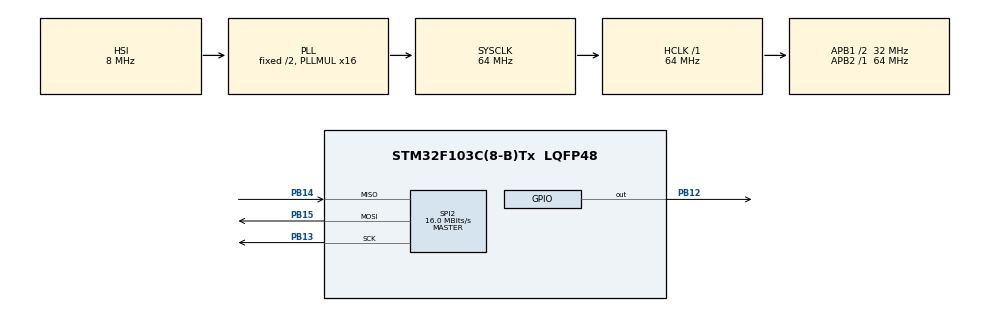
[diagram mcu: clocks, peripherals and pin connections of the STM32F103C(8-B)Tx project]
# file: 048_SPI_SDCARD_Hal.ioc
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FATFS._MAX_SS=4096
FATFS._USE_LFN=1
Mcu.Family=STM32F1
Mcu.Name=STM32F103C(8-B)Tx
Mcu.Package=LQFP48
NVIC.PriorityGroup=NVIC_PRIORITYGROUP_4
PA13.Mode=Serial_Wire
PA13.Signal=SYS_JTMS-SWDIO
PA14.Mode=Serial_Wire
PA14.Signal=SYS_JTCK-SWCLK
PB12.Signal=GPIO_Output
PB13.Mode=Full_Duplex_Master
PB13.Signal=SPI2_SCK
PB14.Mode=Full_Duplex_Master
PB14.Signal=SPI2_MISO
PB15.Mode=Full_Duplex_Master
PB15.Signal=SPI2_MOSI
ProjectManager.HeapSize=0x200
ProjectManager.StackSize=0x400
ProjectManager.TargetToolchain=STM32CubeIDE
RCC.AHBFreq_Value=64000000
RCC.APB1CLKDivider=RCC_HCLK_DIV2
RCC.APB1Freq_Value=32000000
RCC.APB1TimFreq_Value=64000000
RCC.APB2Freq_Value=64000000
RCC.APB2TimFreq_Value=64000000
RCC.HCLKFreq_Value=64000000
RCC.PLLMUL=RCC_PLL_MUL16
RCC.SYSCLKFreq_VALUE=64000000
RCC.SYSCLKSource=RCC_SYSCLKSOURCE_PLLCLK
RCC.USBFreq_Value=64000000
SPI2.CalculateBaudRate=16.0 MBits/s
SPI2.Direction=SPI_DIRECTION_2LINES
SPI2.Mode=SPI_MODE_MASTER
SPI2.VirtualType=VM_MASTER
VP_FATFS_VS_Generic.Mode=User_defined
board=custom

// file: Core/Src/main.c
/* USER CODE BEGIN Header */
/**
  ******************************************************************************
  * @file           : main.c
  * @brief          : Main program body
  ******************************************************************************
  * @attention
  *
  * Copyright (c) 2024 STMicroelectronics.
  * All rights reserved.
  *
  * This software is licensed under terms that can be found in the LICENSE file
  * in the root directory of this software component.
  * If no LICENSE file comes with this software, it is provided AS-IS.
  *
  ******************************************************************************
  */
/* USER CODE END Header */
#include "main.h"
#include "fatfs.h"

/* USER CODE BEGIN Includes */
#include "fatfs_sd.h"
#include "string.h"

/* USER CODE END Includes */

SPI_HandleTypeDef hspi2;

/* USER CODE BEGIN PV */
FATFS fs;						// dosya sistemi
FIL file; 						// dosya
FRESULT fresult;				// fresult farklı sonuçlar için macrolar tanımlanmış ff.c içerisinde FRESULT structer ının bir objesi
char buffer[1024];

UINT br, bw;

FATFS *pfs;
DWORD fre_clust;
uint32_t total, free_space;

/* USER CODE END PV */

void SystemClock_Config(void);
static void MX_GPIO_Init(void);
static void MX_SPI2_Init(void);

/* USER CODE BEGIN 0 */

int buffersize(char *buf){
	int i=0;
	while(*buf++ != '\0')
		i++;
	return i;
}

void bufferclear(void){
	for(int i=0;i < 1024; i++)
		buffer[i] = '\0';
}

/* USER CODE END 0 */

int main(void)
{

  /* MCU Configuration--------------------------------------------------------*/

  /* Reset of all peripherals, Initializes the Flash interface and the Systick. */
  HAL_Init();

  /* Configure the system clock */
  SystemClock_Config();

  /* Initialize all configured peripherals */
  MX_GPIO_Init();
  MX_SPI2_Init();
  MX_FATFS_Init();

  /* Infinite loop */
  while (1)
  {

    /* USER CODE BEGIN 3 */
	  fresult = f_mount(&fs, "", 0);	// f_mount sd kartın yuvaya monte edildiğini belirtir. // @param: filesystem address, logical drive number, ( 0 -> delayed mount, 1 -> 	immidiate mount)

	  f_getfree("", &fre_clust, &pfs);	// boş küme sayısını dönderir. @param_1: logical drive number(char), @param_2: küme sayısını tutan değişken, @param_3: file system pointer

	  total = (uint32_t)((pfs->n_fatent-2) * pfs->csize * 0.5);

	  free_space = (uint32_t)((fre_clust) * pfs->csize * 0.5);

	  fresult = f_open(&file, "myFirstFile.txt", FA_CREATE_ALWAYS | FA_WRITE | FA_READ);

	  f_puts("Merhaba bu bir txt kayit denemesidir",&file);

	  fresult = f_close(&file);

  }
  /* USER CODE END 3 */
}

void SystemClock_Config(void)
{
  RCC_OscInitTypeDef RCC_OscInitStruct = {0};
  RCC_ClkInitTypeDef RCC_ClkInitStruct = {0};

  /** Initializes the RCC Oscillators according to the specified parameters
  * in the RCC_OscInitTypeDef structure.
  */
  RCC_OscInitStruct.OscillatorType = RCC_OSCILLATORTYPE_HSI;
  RCC_OscInitStruct.HSIState = RCC_HSI_ON;
  RCC_OscInitStruct.HSICalibrationValue = RCC_HSICALIBRATION_DEFAULT;
  RCC_OscInitStruct.PLL.PLLState = RCC_PLL_ON;
  RCC_OscInitStruct.PLL.PLLSource = RCC_PLLSOURCE_HSI_DIV2;
  RCC_OscInitStruct.PLL.PLLMUL = RCC_PLL_MUL16;
  if (HAL_RCC_OscConfig(&RCC_OscInitStruct) != HAL_OK)
  {
    Error_Handler();
  }

  /** Initializes the CPU, AHB and APB buses clocks
  */
  RCC_ClkInitStruct.ClockType = RCC_CLOCKTYPE_HCLK|RCC_CLOCKTYPE_SYSCLK
                              |RCC_CLOCKTYPE_PCLK1|RCC_CLOCKTYPE_PCLK2;
  RCC_ClkInitStruct.SYSCLKSource = RCC_SYSCLKSOURCE_PLLCLK;
  RCC_ClkInitStruct.AHBCLKDivider = RCC_SYSCLK_DIV1;
  RCC_ClkInitStruct.APB1CLKDivider = RCC_HCLK_DIV2;
  RCC_ClkInitStruct.APB2CLKDivider = RCC_HCLK_DIV1;

  if (HAL_RCC_ClockConfig(&RCC_ClkInitStruct, FLASH_LATENCY_2) != HAL_OK)
  {
    Error_Handler();
  }
}

static void MX_SPI2_Init(void)
{

  /* SPI2 parameter configuration*/
  hspi2.Instance = SPI2;
  hspi2.Init.Mode = SPI_MODE_MASTER;
  hspi2.Init.Direction = SPI_DIRECTION_2LINES;
  hspi2.Init.DataSize = SPI_DATASIZE_8BIT;
  hspi2.Init.CLKPolarity = SPI_POLARITY_LOW;
  hspi2.Init.CLKPhase = SPI_PHASE_1EDGE;
  hspi2.Init.NSS = SPI_NSS_SOFT;
  hspi2.Init.BaudRatePrescaler = SPI_BAUDRATEPRESCALER_2;
  hspi2.Init.FirstBit = SPI_FIRSTBIT_MSB;
  hspi2.Init.TIMode = SPI_TIMODE_DISABLE;
  hspi2.Init.CRCCalculation = SPI_CRCCALCULATION_DISABLE;
  hspi2.Init.CRCPolynomial = 10;
  if (HAL_SPI_Init(&hspi2) != HAL_OK)
  {
    Error_Handler();
  }

}

static void MX_GPIO_Init(void)
{
  GPIO_InitTypeDef GPIO_InitStruct = {0};

  /* GPIO Ports Clock Enable */
  __HAL_RCC_GPIOB_CLK_ENABLE();
  __HAL_RCC_GPIOA_CLK_ENABLE();

  /*Configure GPIO pin Output Level */
  HAL_GPIO_WritePin(GPIOB, GPIO_PIN_12, GPIO_PIN_RESET);

  /*Configure GPIO pin : PB12 */
  GPIO_InitStruct.Pin = GPIO_PIN_12;
  GPIO_InitStruct.Mode = GPIO_MODE_OUTPUT_PP;
  GPIO_InitStruct.Pull = GPIO_NOPULL;
  GPIO_InitStruct.Speed = GPIO_SPEED_FREQ_LOW;
  HAL_GPIO_Init(GPIOB, &GPIO_InitStruct);

}

void Error_Handler(void)
{
  __disable_irq();
  while (1)
  {
  }
}
